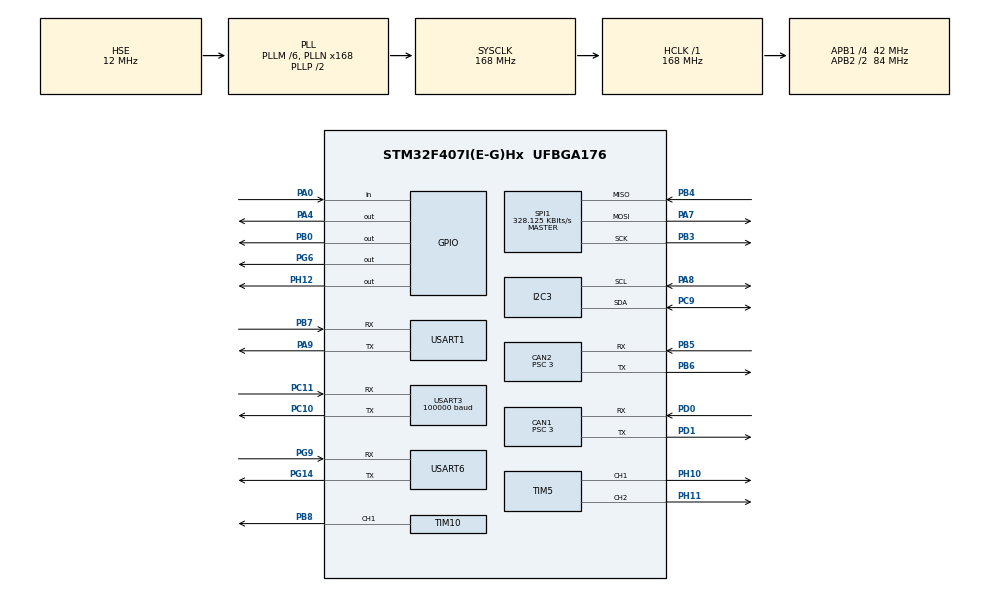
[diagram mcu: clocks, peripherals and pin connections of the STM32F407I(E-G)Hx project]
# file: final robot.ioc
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CAN1.BS1=CAN_BS1_10TQ
CAN1.BS2=CAN_BS2_3TQ
CAN1.CalculateBaudRate=1000000
CAN1.CalculateTimeQuantum=71.42857142857143
CAN1.Prescaler=3
CAN2.BS1=CAN_BS1_10TQ
CAN2.BS2=CAN_BS2_3TQ
CAN2.CalculateBaudRate=1000000
CAN2.CalculateTimeBit=1000
CAN2.CalculateTimeQuantum=71.42857142857143
CAN2.Prescaler=3
Dma.Request0=USART3_RX
Dma.Request1=USART6_RX
Dma.Request2=USART6_TX
Dma.Request3=USART1_RX
Dma.Request4=USART1_TX
Dma.USART1_RX.3.Direction=DMA_PERIPH_TO_MEMORY
Dma.USART1_RX.3.FIFOMode=DMA_FIFOMODE_DISABLE
Dma.USART1_RX.3.Instance=DMA2_Stream2
Dma.USART1_RX.3.MemDataAlignment=DMA_MDATAALIGN_BYTE
Dma.USART1_RX.3.MemInc=DMA_MINC_ENABLE
Dma.USART1_RX.3.Mode=DMA_NORMAL
Dma.USART1_RX.3.PeriphDataAlignment=DMA_PDATAALIGN_BYTE
Dma.USART1_RX.3.PeriphInc=DMA_PINC_DISABLE
Dma.USART1_RX.3.Priority=DMA_PRIORITY_HIGH
Dma.USART1_TX.4.Direction=DMA_MEMORY_TO_PERIPH
Dma.USART1_TX.4.FIFOMode=DMA_FIFOMODE_DISABLE
Dma.USART1_TX.4.Instance=DMA2_Stream7
Dma.USART1_TX.4.MemDataAlignment=DMA_MDATAALIGN_BYTE
Dma.USART1_TX.4.MemInc=DMA_MINC_ENABLE
Dma.USART1_TX.4.Mode=DMA_NORMAL
Dma.USART1_TX.4.PeriphDataAlignment=DMA_PDATAALIGN_BYTE
Dma.USART1_TX.4.PeriphInc=DMA_PINC_DISABLE
Dma.USART1_TX.4.Priority=DMA_PRIORITY_HIGH
Dma.USART3_RX.0.Direction=DMA_PERIPH_TO_MEMORY
Dma.USART3_RX.0.FIFOMode=DMA_FIFOMODE_DISABLE
Dma.USART3_RX.0.Instance=DMA1_Stream1
Dma.USART3_RX.0.MemDataAlignment=DMA_MDATAALIGN_BYTE
Dma.USART3_RX.0.MemInc=DMA_MINC_ENABLE
Dma.USART3_RX.0.Mode=DMA_NORMAL
Dma.USART3_RX.0.PeriphDataAlignment=DMA_PDATAALIGN_BYTE
Dma.USART3_RX.0.PeriphInc=DMA_PINC_DISABLE
Dma.USART3_RX.0.Priority=DMA_PRIORITY_HIGH
Dma.USART6_RX.1.Direction=DMA_PERIPH_TO_MEMORY
Dma.USART6_RX.1.FIFOMode=DMA_FIFOMODE_DISABLE
Dma.USART6_RX.1.Instance=DMA2_Stream1
Dma.USART6_RX.1.MemDataAlignment=DMA_MDATAALIGN_BYTE
Dma.USART6_RX.1.MemInc=DMA_MINC_ENABLE
Dma.USART6_RX.1.Mode=DMA_NORMAL
Dma.USART6_RX.1.PeriphDataAlignment=DMA_PDATAALIGN_BYTE
Dma.USART6_RX.1.PeriphInc=DMA_PINC_DISABLE
Dma.USART6_RX.1.Priority=DMA_PRIORITY_HIGH
Dma.USART6_TX.2.Direction=DMA_MEMORY_TO_PERIPH
Dma.USART6_TX.2.FIFOMode=DMA_FIFOMODE_DISABLE
Dma.USART6_TX.2.Instance=DMA2_Stream6
Dma.USART6_TX.2.MemDataAlignment=DMA_MDATAALIGN_BYTE
Dma.USART6_TX.2.MemInc=DMA_MINC_ENABLE
Dma.USART6_TX.2.Mode=DMA_NORMAL
Dma.USART6_TX.2.PeriphDataAlignment=DMA_PDATAALIGN_BYTE
Dma.USART6_TX.2.PeriphInc=DMA_PINC_DISABLE
Dma.USART6_TX.2.Priority=DMA_PRIORITY_MEDIUM
FREERTOS.Tasks01=ImuTask,3,1024,INS_task,Default,NULL,Dynamic,NULL,NULL;ChassisTask,1,1024,chassis_task,Default,NULL,Dynamic,NULL,NULL;gimbalTask,2,1024,gimbal_task,Default,NULL,Dynamic,NULL,NULL;shootingTask,2,512,shooting_task,Default,NULL,Dynamic,NULL,NULL;REFEREE,0,128,referee_usart_task,Default,NULL,Dynamic,NULL,NULL;Detect,-1,128,detect_task,Default,NULL,Dynamic,NULL,NULL;USART_MiniPC,0,128,Start_USART_MiniPC,Default,NULL,Dynamic,NULL,NULL
FREERTOS.configTOTAL_HEAP_SIZE=17000
I2C3.I2C_Mode=I2C_Fast
Mcu.Family=STM32F4
Mcu.Name=STM32F407I(E-G)Hx
Mcu.Package=UFBGA176
NVIC.CAN1_RX0_IRQn=true\:7\:0\:true\:false\:true\:true\:true\:true\:true
NVIC.CAN2_RX0_IRQn=true\:7\:0\:true\:false\:true\:true\:true\:true\:true
NVIC.DMA1_Stream1_IRQn=true\:6\:0\:true\:false\:true\:true\:false\:true\:true
NVIC.DMA2_Stream1_IRQn=true\:5\:0\:false\:false\:true\:true\:false\:true\:true
NVIC.DMA2_Stream2_IRQn=true\:5\:0\:false\:false\:true\:true\:false\:true\:true
NVIC.DMA2_Stream6_IRQn=true\:5\:0\:false\:false\:true\:true\:false\:true\:true
NVIC.DMA2_Stream7_IRQn=true\:5\:0\:false\:false\:true\:true\:false\:true\:true
NVIC.PriorityGroup=NVIC_PRIORITYGROUP_4
NVIC.USART1_IRQn=true\:5\:0\:false\:false\:true\:true\:true\:true\:true
NVIC.USART3_IRQn=true\:5\:0\:false\:false\:true\:true\:true\:true\:true
NVIC.USART6_IRQn=true\:5\:0\:false\:false\:true\:true\:true\:true\:true
PA0-WKUP.GPIO_PuPd=GPIO_PULLDOWN
PA0-WKUP.Signal=GPIO_Input
PA13.Mode=Serial_Wire
PA13.Signal=SYS_JTMS-SWDIO
PA14.Mode=Serial_Wire
PA14.Signal=SYS_JTCK-SWCLK
PA4.GPIO_ModeDefaultOutputPP=GPIO_MODE_OUTPUT_PP
PA4.GPIO_PuPd=GPIO_PULLUP
PA4.GPIO_Speed=GPIO_SPEED_FREQ_HIGH
PA4.PinState=GPIO_PIN_SET
PA4.Signal=GPIO_Output
PA7.GPIO_Mode=GPIO_MODE_AF_PP
PA7.GPIO_PuPd=GPIO_NOPULL
PA7.GPIO_Speed=GPIO_SPEED_FREQ_VERY_HIGH
PA7.Mode=Full_Duplex_Master
PA7.Signal=SPI1_MOSI
PA8.GPIO_Mode=GPIO_MODE_AF_OD
PA8.GPIO_Pu=GPIO_PULLUP
PA8.GPIO_Speed=GPIO_SPEED_FREQ_VERY_HIGH
PA8.Mode=I2C
PA8.Signal=I2C3_SCL
PA9.GPIO_PuPd=GPIO_PULLUP
PA9.Mode=Asynchronous
PA9.Signal=USART1_TX
PB0.GPIO_ModeDefaultOutputPP=GPIO_MODE_OUTPUT_PP
PB0.GPIO_PuPd=GPIO_PULLUP
PB0.GPIO_Speed=GPIO_SPEED_FREQ_HIGH
PB0.PinState=GPIO_PIN_SET
PB0.Signal=GPIO_Output
PB3.GPIO_Mode=GPIO_MODE_AF_PP
PB3.GPIO_PuPd=GPIO_NOPULL
PB3.GPIO_Speed=GPIO_SPEED_FREQ_VERY_HIGH
PB3.Mode=Full_Duplex_Master
PB3.Signal=SPI1_SCK
PB4.GPIO_Mode=GPIO_MODE_AF_PP
PB4.GPIO_PuPd=GPIO_NOPULL
PB4.GPIO_Speed=GPIO_SPEED_FREQ_VERY_HIGH
PB4.Mode=Full_Duplex_Master
PB4.Signal=SPI1_MISO
PB5.Mode=CAN_Activate
PB5.Signal=CAN2_RX
PB6.Mode=CAN_Activate
PB6.Signal=CAN2_TX
PB7.GPIO_PuPd=GPIO_PULLUP
PB7.Mode=Asynchronous
PB7.Signal=USART1_RX
PB8.GPIO_PuPd=GPIO_PULLUP
PB8.GPIO_Speed=GPIO_SPEED_FREQ_HIGH
PB8.Signal=S_TIM10_CH1
PC10.Mode=Asynchronous
PC10.Signal=USART3_TX
PC11.Mode=Asynchronous
PC11.Signal=USART3_RX
PC9.GPIO_Mode=GPIO_MODE_AF_OD
PC9.GPIO_Pu=GPIO_PULLUP
PC9.GPIO_Speed=GPIO_SPEED_FREQ_VERY_HIGH
PC9.Mode=I2C
PC9.Signal=I2C3_SDA
PD0.Mode=CAN_Activate
PD0.Signal=CAN1_RX
PD1.Mode=CAN_Activate
PD1.Signal=CAN1_TX
PG14.GPIO_PuPd=GPIO_PULLUP
PG14.Mode=Asynchronous
PG14.Signal=USART6_TX
PG6.GPIO_ModeDefaultOutputPP=GPIO_MODE_OUTPUT_PP
PG6.GPIO_PuPd=GPIO_PULLUP
PG6.GPIO_Speed=GPIO_SPEED_FREQ_MEDIUM
PG6.PinState=GPIO_PIN_SET
PG6.Signal=GPIO_Output
PG9.GPIO_PuPd=GPIO_PULLUP
PG9.Mode=Asynchronous
PG9.Signal=USART6_RX
PH0-OSC_IN.Mode=HSE-External-Oscillator
PH0-OSC_IN.Signal=RCC_OSC_IN
PH1-OSC_OUT.Mode=HSE-External-Oscillator
PH1-OSC_OUT.Signal=RCC_OSC_OUT
PH10.GPIO_ModeDefaultPP=GPIO_MODE_AF_PP
PH10.GPIO_PuPd=GPIO_PULLUP
PH10.GPIO_Speed=GPIO_SPEED_FREQ_HIGH
PH10.Signal=S_TIM5_CH1
PH11.GPIO_ModeDefaultPP=GPIO_MODE_AF_PP
PH11.GPIO_PuPd=GPIO_PULLUP
PH11.GPIO_Speed=GPIO_SPEED_FREQ_HIGH
PH11.Signal=S_TIM5_CH2
PH12.Signal=GPIO_Output
ProjectManager.HeapSize=0x200
ProjectManager.StackSize=0x400
ProjectManager.TargetToolchain=MDK-ARM V5
RCC.48MHZClocksFreq_Value=84000000
RCC.AHBFreq_Value=168000000
RCC.APB1CLKDivider=RCC_HCLK_DIV4
RCC.APB1Freq_Value=42000000
RCC.APB1TimFreq_Value=84000000
RCC.APB2CLKDivider=RCC_HCLK_DIV2
RCC.APB2Freq_Value=84000000
RCC.APB2TimFreq_Value=168000000
RCC.CortexFreq_Value=168000000
RCC.HCLKFreq_Value=168000000
RCC.HSE_VALUE=12000000
RCC.HSI_VALUE=16000000
RCC.LSE_VALUE=32768
RCC.PLLM=6
RCC.PLLN=168
RCC.PLLSourceVirtual=RCC_PLLSOURCE_HSE
RCC.SYSCLKFreq_VALUE=168000000
RCC.SYSCLKSource=RCC_SYSCLKSOURCE_PLLCLK
RCC.VCOOutputFreq_Value=336000000
SH.S_TIM10_CH1.0=TIM10_CH1,PWM Generation1 CH1
SH.S_TIM5_CH1.0=TIM5_CH1,PWM Generation1 CH1
SH.S_TIM5_CH2.0=TIM5_CH2,PWM Generation2 CH2
SPI1.BaudRatePrescaler=SPI_BAUDRATEPRESCALER_256
SPI1.CLKPhase=SPI_PHASE_2EDGE
SPI1.CLKPolarity=SPI_POLARITY_HIGH
SPI1.CalculateBaudRate=328.125 KBits/s
SPI1.Direction=SPI_DIRECTION_2LINES
SPI1.Mode=SPI_MODE_MASTER
SPI1.VirtualType=VM_MASTER
TIM10.Channel=TIM_CHANNEL_1
TIM5.Channel-PWM\ Generation1\ CH1=TIM_CHANNEL_1
TIM5.Channel-PWM\ Generation2\ CH2=TIM_CHANNEL_2
USART1.VirtualMode=VM_ASYNC
USART3.BaudRate=100000
USART3.Parity=PARITY_EVEN
USART3.VirtualMode=VM_ASYNC
USART6.VirtualMode=VM_ASYNC
VP_FREERTOS_VS_CMSIS_V1.Mode=CMSIS_V1
VP_TIM10_VS_ClockSourceINT.Mode=Enable_Timer
board=custom

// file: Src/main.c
/* USER CODE BEGIN Header */
/**
  ******************************************************************************
  * @file           : main.c
  * @brief          : Main program body
  ******************************************************************************
  * @attention
  *
  * <h2><center>&copy; Copyright (c) 2019 STMicroelectronics.
  * All rights reserved.</center></h2>
  *
  * This software component is licensed by ST under BSD 3-Clause license,
  * the "License"; You may not use this file except in compliance with the
  * License. You may obtain a copy of the License at:
  *                        opensource.org/licenses/BSD-3-Clause
  *
  ******************************************************************************
  */
/* USER CODE END Header */
#include "main.h"
#include "cmsis_os.h"
#include "can.h"
#include "dma.h"
#include "i2c.h"
#include "spi.h"
#include "tim.h"
#include "usart.h"
#include "gpio.h"

/* USER CODE BEGIN Includes */
#include "bsp_can.h"
#include "CAN_receive.h"
#include "remote_control.h"
#include <string.h>
#include <stdio.h>
#include "AI_receive.h"
#include "control_alg.h"
/* USER CODE END Includes */

/* USER CODE BEGIN PV */

extern uint8_t miniPC_RX_buf[69];

/* USER CODE END PV */

void SystemClock_Config(void);
void MX_FREERTOS_Init(void);

int main(void)
{

  /* MCU Configuration--------------------------------------------------------*/

  /* Reset of all peripherals, Initializes the Flash interface and the Systick. */
  HAL_Init();

  /* Configure the system clock */
  SystemClock_Config();

  /* Initialize all configured peripherals */
  MX_GPIO_Init();
  MX_DMA_Init();
  MX_USART1_UART_Init();
  MX_I2C3_Init();
  MX_SPI1_Init();
  MX_TIM5_Init();
  MX_TIM10_Init();
  MX_CAN1_Init();
  MX_USART3_UART_Init();
  MX_CAN2_Init();
  MX_USART6_UART_Init();
  /* USER CODE BEGIN 2 */
  can_filter_init();
	remote_control_init();
	//AI_receive_init();
	HAL_UART_Receive_DMA(&huart1, miniPC_RX_buf, 69);
  /* USER CODE END 2 */

  /* Call init function for freertos objects (in freertos.c) */
  MX_FREERTOS_Init();
  /* Start scheduler */
  osKernelStart();

  /* We should never get here as control is now taken by the scheduler */
  /* Infinite loop */
  while (1)
  {

 }
}

void SystemClock_Config(void)
{
  RCC_OscInitTypeDef RCC_OscInitStruct = {0};
  RCC_ClkInitTypeDef RCC_ClkInitStruct = {0};

  /** Configure the main internal regulator output voltage
  */
  __HAL_RCC_PWR_CLK_ENABLE();
  __HAL_PWR_VOLTAGESCALING_CONFIG(PWR_REGULATOR_VOLTAGE_SCALE1);
  /** Initializes the RCC Oscillators according to the specified parameters
  * in the RCC_OscInitTypeDef structure.
  */
  RCC_OscInitStruct.OscillatorType = RCC_OSCILLATORTYPE_HSE;
  RCC_OscInitStruct.HSEState = RCC_HSE_ON;
  RCC_OscInitStruct.PLL.PLLState = RCC_PLL_ON;
  RCC_OscInitStruct.PLL.PLLSource = RCC_PLLSOURCE_HSE;
  RCC_OscInitStruct.PLL.PLLM = 6;
  RCC_OscInitStruct.PLL.PLLN = 168;
  RCC_OscInitStruct.PLL.PLLP = RCC_PLLP_DIV2;
  RCC_OscInitStruct.PLL.PLLQ = 4;
  if (HAL_RCC_OscConfig(&RCC_OscInitStruct) != HAL_OK)
  {
    Error_Handler();
  }
  /** Initializes the CPU, AHB and APB buses clocks
  */
  RCC_ClkInitStruct.ClockType = RCC_CLOCKTYPE_HCLK|RCC_CLOCKTYPE_SYSCLK
                              |RCC_CLOCKTYPE_PCLK1|RCC_CLOCKTYPE_PCLK2;
  RCC_ClkInitStruct.SYSCLKSource = RCC_SYSCLKSOURCE_PLLCLK;
  RCC_ClkInitStruct.AHBCLKDivider = RCC_SYSCLK_DIV1;
  RCC_ClkInitStruct.APB1CLKDivider = RCC_HCLK_DIV4;
  RCC_ClkInitStruct.APB2CLKDivider = RCC_HCLK_DIV2;

  if (HAL_RCC_ClockConfig(&RCC_ClkInitStruct, FLASH_LATENCY_5) != HAL_OK)
  {
    Error_Handler();
  }
}

void Error_Handler(void)
{
}

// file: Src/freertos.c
/* USER CODE BEGIN Header */
/**
  ******************************************************************************
  * File Name          : freertos.c
  * Description        : Code for freertos applications
  ******************************************************************************
  * @attention
  *
  * Copyright (c) 2022 STMicroelectronics.
  * All rights reserved.
  *
  * This software is licensed under terms that can be found in the LICENSE file
  * in the root directory of this software component.
  * If no LICENSE file comes with this software, it is provided AS-IS.
  *
  ******************************************************************************
  */
/* USER CODE END Header */

#include "FreeRTOS.h"
#include "task.h"
#include "main.h"
#include "cmsis_os.h"

/* USER CODE BEGIN Includes */

#include "stdlib.h"
#include <string.h>

/* USER CODE END Includes */

/* USER CODE BEGIN Variables */
extern UART_HandleTypeDef huart1;

char Tx_buf[70];
char temp_Tx_buf[70];
float dataTx[10];
float data[10] = {34.67, -34.67, 4.78, -4.78, 89.2, -89.2, 38, -38, 0.45, -0.45};
float dataFloat;
int dataInt = -56;
float dataTx[10];
uint8_t for_index = 0;
char temp_char [6];

extern uint8_t miniPC_data[69];
uint8_t miniPC_data_conv[69];
int RX_index = 0;
char temp_miniPC_RX[6];
float miniPC_dataFloat[10];

/* USER CODE END Variables */
osThreadId ImuTaskHandle;
osThreadId ChassisTaskHandle;
osThreadId gimbalTaskHandle;
osThreadId shootingTaskHandle;
osThreadId REFEREEHandle;
osThreadId DetectHandle;
osThreadId USART_MiniPCHandle;

void INS_task(void const * argument);
void chassis_task(void const * argument);
void gimbal_task(void const * argument);
void shooting_task(void const * argument);
void referee_usart_task(void const * argument);
void detect_task(void const * argument);
void Start_USART_MiniPC(void const * argument);

void MX_FREERTOS_Init(void); /* (MISRA C 2004 rule 8.1) */

/* GetIdleTaskMemory prototype (linked to static allocation support) */
void vApplicationGetIdleTaskMemory( StaticTask_t **ppxIdleTaskTCBBuffer, StackType_t **ppxIdleTaskStackBuffer, uint32_t *pulIdleTaskStackSize );

/* USER CODE BEGIN GET_IDLE_TASK_MEMORY */
static StaticTask_t xIdleTaskTCBBuffer;
static StackType_t xIdleStack[configMINIMAL_STACK_SIZE];

void vApplicationGetIdleTaskMemory( StaticTask_t **ppxIdleTaskTCBBuffer, StackType_t **ppxIdleTaskStackBuffer, uint32_t *pulIdleTaskStackSize )
{
  *ppxIdleTaskTCBBuffer = &xIdleTaskTCBBuffer;
  *ppxIdleTaskStackBuffer = &xIdleStack[0];
  *pulIdleTaskStackSize = configMINIMAL_STACK_SIZE;
  /* place for user code */
}
/* USER CODE END GET_IDLE_TASK_MEMORY */

void MX_FREERTOS_Init(void) {

  /* Create the thread(s) */
  /* definition and creation of ImuTask */
  osThreadDef(ImuTask, INS_task, osPriorityRealtime, 0, 1024);
  ImuTaskHandle = osThreadCreate(osThread(ImuTask), NULL);

  /* definition and creation of ChassisTask */
  osThreadDef(ChassisTask, chassis_task, osPriorityAboveNormal, 0, 1024);
  ChassisTaskHandle = osThreadCreate(osThread(ChassisTask), NULL);

  /* definition and creation of gimbalTask */
  osThreadDef(gimbalTask, gimbal_task, osPriorityHigh, 0, 1024);
  gimbalTaskHandle = osThreadCreate(osThread(gimbalTask), NULL);

  /* definition and creation of shootingTask */
  osThreadDef(shootingTask, shooting_task, osPriorityHigh, 0, 512);
  shootingTaskHandle = osThreadCreate(osThread(shootingTask), NULL);

  /* definition and creation of REFEREE */
  osThreadDef(REFEREE, referee_usart_task, osPriorityNormal, 0, 128);
  REFEREEHandle = osThreadCreate(osThread(REFEREE), NULL);

//  /* definition and creation of Detect */
//  osThreadDef(Detect, detect_task, osPriorityBelowNormal, 0, 128);
//  DetectHandle = osThreadCreate(osThread(Detect), NULL);

  /* definition and creation of USART_MiniPC */
  osThreadDef(USART_MiniPC, Start_USART_MiniPC, osPriorityNormal, 0, 128);
  USART_MiniPCHandle = osThreadCreate(osThread(USART_MiniPC), NULL);

}

///* USER CODE BEGIN Header_INS_task */
/////**
////  * @brief  Function implementing the ImuTask thread.
////  * @param  argument: Not used
////  * @retval None
////  */
///* USER CODE END Header_INS_task */
//void INS_task(void const * argument)
//{
//  /* USER CODE BEGIN INS_task */
////  /* Infinite loop */
////  for(;;)
////  {
////    osDelay(1);
////  }
//  /* USER CODE END INS_task */
//}

/* USER CODE BEGIN Header_chassis_task */
///**
//* @brief Function implementing the ChassisTask thread.
//* @param argument: Not used
//* @retval None
////*/
///* USER CODE END Header_chassis_task */
//void chassis_task(void const * argument)
//{
//  /* USER CODE BEGIN chassis_task */
////  /* Infinite loop */
////  for(;;)
////  {
////    osDelay(1);
////  }
//  /* USER CODE END chassis_task */
//}

///* USER CODE BEGIN Header_gimbal_task */
/////**
////* @brief Function implementing the gimbalTask thread.
////* @param argument: Not used
////* @retval None
////*/
///* USER CODE END Header_gimbal_task */
//void gimbal_task(void const * argument)
//{
//  /* USER CODE BEGIN gimbal_task */
////  /* Infinite loop */
////  for(;;)
////  {
////    osDelay(1);
////  }
//  /* USER CODE END gimbal_task */
//}

///* USER CODE BEGIN Header_shooting_task */
/////**
////* @brief Function implementing the shootingTask thread.
////* @param argument: Not used
////* @retval None
////*/
///* USER CODE END Header_shooting_task */
//void shooting_task(void const * argument)
//{
//  /* USER CODE BEGIN shooting_task */
////  /* Infinite loop */
////  for(;;)
////  {
////    osDelay(1);
////  }
//  /* USER CODE END shooting_task */
//}

/* USER CODE BEGIN Header_referee_usart_task */
///**
//* @brief Function implementing the REFEREE thread.
//* @param argument: Not used
//* @retval None
//*/
///* USER CODE END Header_referee_usart_task */
//void referee_usart_task(void const * argument)
//{
//  /* USER CODE BEGIN referee_usart_task */
////  /* Infinite loop */
////  for(;;)
////  {
////    osDelay(1);
////  }
//  /* USER CODE END referee_usart_task */
//}

///* USER CODE BEGIN Header_detect_task */
///**
//* @brief Function implementing the Detect thread.
//* @param argument: Not used
//* @retval None
//*/
///* USER CODE END Header_detect_task */
//void detect_task(void const * argument)
//{
//  /* USER CODE BEGIN detect_task */
//  /* Infinite loop */
//  for(;;)
//  {
//    osDelay(1);
//  }
//  /* USER CODE END detect_task */
//}

void Start_USART_MiniPC(void const * argument)
{
  /* USER CODE BEGIN Start_USART_MiniPC */
  /* Infinite loop */
  for(;;)
  {
		// Demodulating data received on the STM32. miniPC_data comes from the AI_receive.c function. This part is before the transmission because it was giving some problems
		memcpy(miniPC_data_conv, miniPC_data, 69*sizeof(char));
		for (RX_index = 0 ; RX_index < 10 ; RX_index++){
				memcpy(temp_miniPC_RX, &miniPC_data_conv[RX_index*7], 6*sizeof(char));
				miniPC_dataFloat[RX_index] = atof(temp_miniPC_RX);
		}

// Transmitting data to MiniPC
		memcpy(dataTx, data, 10*sizeof(float));
		dataFloat = (float)dataInt;
		dataTx[9] = dataFloat;
		for (for_index = 0 ; for_index < 10 ; for_index++){
				memcpy(temp_char, (char [6]){0,0,0,0,0,0}, 6*sizeof(char));
				sprintf(temp_char, "%f", dataTx[for_index]);
				memcpy(&temp_Tx_buf[1 + for_index*7], temp_char, 6*sizeof(char));
				memcpy(&temp_Tx_buf[for_index*7+7], " ", sizeof(char));
		}

		memcpy(temp_Tx_buf, "%", sizeof(char));
		memcpy(Tx_buf, temp_Tx_buf, 70*sizeof(char));
		HAL_UART_Transmit_IT(&huart1, (uint8_t *) Tx_buf, 70);
		//HAL_UART_Transmit_IT(&huart1, (uint8_t *) "ciao", sizeof("ciao"));

    osDelay(10);
  }
  /* USER CODE END Start_USART_MiniPC */
}
